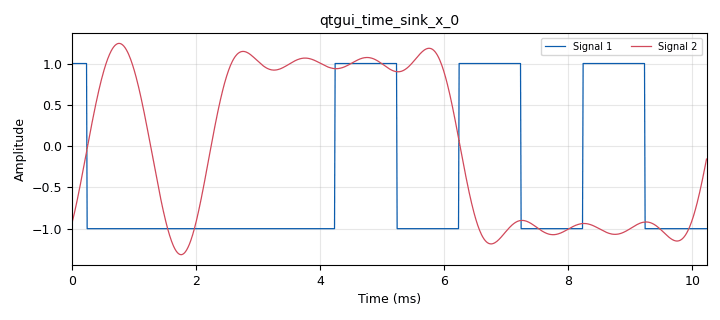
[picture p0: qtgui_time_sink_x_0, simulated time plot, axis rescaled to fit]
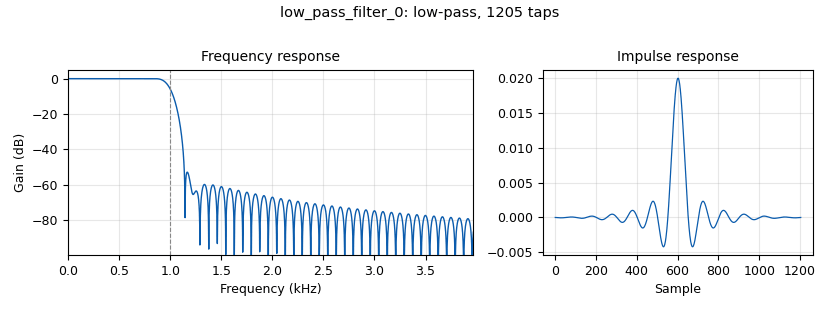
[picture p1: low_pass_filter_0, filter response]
options:
  parameters:
    generate_options: qt_gui
    id: square_wave_pulse_shaping
    output_language: python
    title: Square wave pulse shaping
  states: {}

blocks:
- name: samp_rate
  id: variable
  parameters:
    value: '100000'
  states: {}
- name: symbol_rate
  id: variable
  parameters:
    value: '1000'
  states: {}
- name: blocks_repeat_0
  id: blocks_repeat
  parameters:
    interp: samp_rate//symbol_rate
    type: float
  states: {}
- name: blocks_throttle_0
  id: blocks_throttle
  parameters:
    samples_per_second: samp_rate
    type: float
  states: {}
- name: digital_glfsr_source_x_0
  id: digital_glfsr_source_x
  parameters:
    degree: '10'
    mask: '0'
    repeat: 'True'
    seed: '1'
    type: float
  states: {}
- name: low_pass_filter_0
  id: low_pass_filter
  parameters:
    beta: '1'
    cutoff_freq: '1000'
    decim: '1'
    gain: '1'
    samp_rate: samp_rate
    type: fir_filter_fff
    width: '200'
    win: firdes.WIN_HAMMING
  states: {}
- name: qtgui_time_sink_x_0
  id: qtgui_time_sink_x
  parameters:
    nconnections: '2'
    size: '1024'
    srate: samp_rate
    type: float
  states: {}

connections:
- [blocks_repeat_0, '0', blocks_throttle_0, '0']
- [blocks_repeat_0, '0', low_pass_filter_0, '0']
- [blocks_throttle_0, '0', qtgui_time_sink_x_0, '0']
- [digital_glfsr_source_x_0, '0', blocks_repeat_0, '0']
- [low_pass_filter_0, '0', qtgui_time_sink_x_0, '1']

metadata:
  file_format: 1
